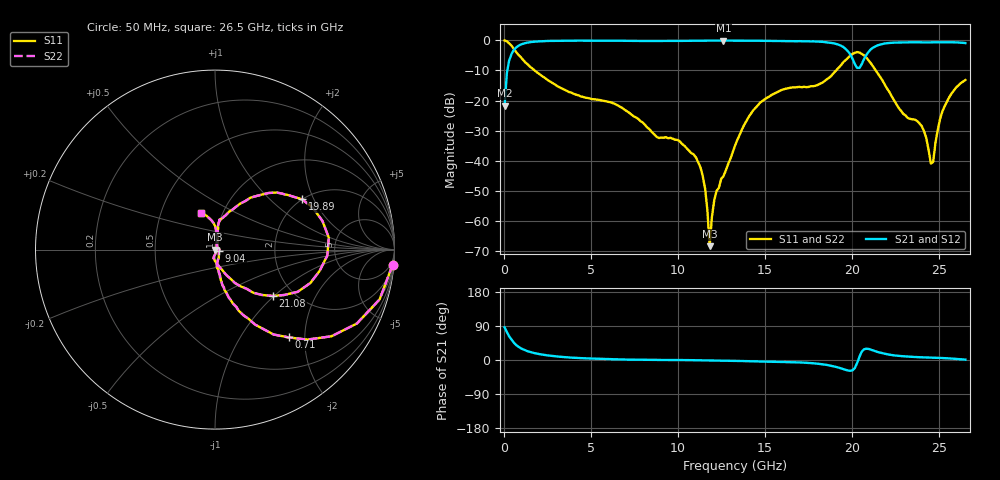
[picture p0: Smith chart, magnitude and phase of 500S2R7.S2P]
!  American Technical Ceramics  Date:  3/6/98
!  One Norden Lane
!  Huntington Station,  NY.  11746-2102
!  Tel:  (516) 547-5700  Fax:  (516) 547-5748
!  Part Number  500S2R7
!  Description: Broadband Microwave capacitor
!  Application:
# GHZ S DB R 50
! Freq  |S11|  S11 Ph  |S21|  S21 Ph  |S12|  S12 Ph  |S22|  S22 Ph
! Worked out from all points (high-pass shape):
!   201 points, 50 MHz to 26.5 GHz, reference 50 ohm
!   highest |S21| = -0.10 dB at 12.61 GHz (marker M1); lowest = -21.7 dB at 50 MHz (marker M2)
!   |S21| within 3 dB of the highest: 596.5 MHz to 19.66 GHz (19.07 GHz wide, 188 % of centre); 21.06 GHz to end of sweep
!   lowest |S11| = -68.3 dB at 11.82 GHz (marker M3), VSWR 1.00, Z = 50 + j0.0309 ohm
!   |S11| at or under -10 dB: 1.768 GHz to 19.08 GHz (17.31 GHz wide, 166 % of centre); 21.36 GHz to end of sweep
!   |S22| runs from -68.3 to -0.1 dB; largest |S21 - S12| = 0
!   S11 on the Smith chart (normalised r, x): 50 MHz: 2, -23; 710 MHz: 1.01, -1.67; 9.04 GHz: 1.05, -0.01; 19.89 GHz: 2.00, +1.64; 21.08 GHz: 1.58, -0.98; 26.5 GHz: 0.79, +0.34
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0.05  -0.06 -4.9  -21.70 86.1  -21.70 86.1  -0.06 -4.9
0.31  -1.00 -27.5  -6.73 62.6  -6.73 62.6  -1.00 -27.5
0.71  -3.90 -50.0  -2.41 39.5  -2.41 39.5  -3.90 -50.0
4.55  -18.79 -80.7  -0.13 4.7  -0.13 4.7  -18.79 -80.7
8.91  -32.44 -20.3  -0.23 0.1  -0.23 0.1  -32.44 -20.3
9.04  -32.30 -13.2  -0.24 0.0  -0.24 0.0  -32.30 -13.2
11.29  -42.13 74.0  -0.14 -0.7  -0.14 -0.7  -42.13 74.0
11.56  -49.31 92.2  -0.13 -0.9  -0.13 -0.9  -49.31 92.2
11.82  -68.34 126.2  -0.12 -1.1  -0.12 -1.1  -68.34 126.2
12.08  -53.20 -80.8  -0.11 -1.3  -0.11 -1.3  -53.20 -80.8
12.61  -45.15 -7.7  -0.10 -1.8  -0.10 -1.8  -45.15 -7.7
13.28  -34.90 53.2  -0.11 -2.3  -0.11 -2.3  -34.90 53.2
14.73  -20.64 81.7  -0.16 -4.0  -0.16 -4.0  -20.64 81.7
17.77  -15.24 78.9  -0.37 -8.7  -0.37 -8.7  -15.24 78.9
19.89  -5.02 29.9  -4.66 -28.5  -4.66 -28.5  -5.02 29.9
20.42  -4.06 -3.0  -9.18 8.7  -9.18 8.7  -4.06 -3.0
21.08  -7.67 -38.7  -2.95 27.1  -2.95 27.1  -7.67 -38.7
22.14  -17.20 -68.1  -0.90 14.2  -0.90 14.2  -17.20 -68.1
23.99  -28.43 -98.4  -0.69 7.1  -0.69 7.1  -28.43 -98.4
24.52  -40.95 -48.0  -0.68 6.2  -0.68 6.2  -40.95 -48.0
25.18  -23.58 78.2  -0.66 5.2  -0.66 5.2  -23.58 78.2
26.5  -13.19 110.3  -0.93 1.0  -0.93 1.0  -13.19 110.3
